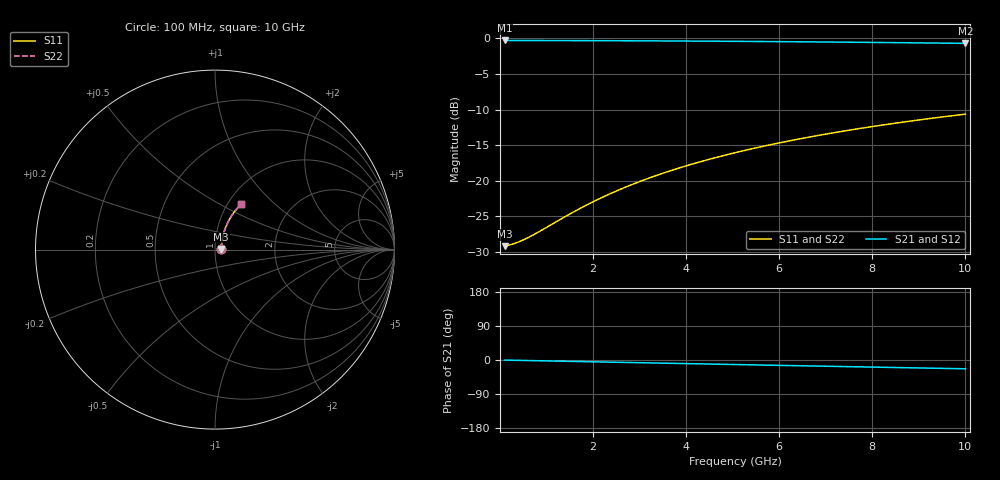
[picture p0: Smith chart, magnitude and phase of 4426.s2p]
# Hz S RI R 50.00
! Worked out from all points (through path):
!   100 points, 100 MHz to 10 GHz, reference 50 ohm
!   highest |S21| = -0.31 dB at 100 MHz (marker M1); lowest = -0.7 dB at 10 GHz (marker M2)
!   group delay of S21, straight-line fit = 6.45 ps
!   lowest |S11| = -29.2 dB at 100 MHz (marker M3), VSWR 1.07, Z = 53.6 + j0.315 ohm
!   |S11| at or under -10 dB: start of sweep to end of sweep
!   |S22| runs from -29.2 to -10.6 dB; largest |S21 - S12| = 0
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1e8  0.0347 0.00294  0.9653 -0.00402  0.9653 -0.00402  0.0347 0.00294
2e8  0.0349 0.00587  0.9651 -0.00803  0.9651 -0.00803  0.0349 0.00587
3e8  0.0351 0.00881  0.9648 -0.012  0.9648 -0.012  0.0351 0.00881
4e8  0.0354 0.0117  0.9646 -0.0161  0.9646 -0.0161  0.0354 0.0117
6e8  0.0358 0.0176  0.9642 -0.0241  0.9642 -0.0241  0.0358 0.0176
8e8  0.0363 0.0234  0.9636 -0.0321  0.9636 -0.0321  0.0363 0.0234
1.5e9  0.0387 0.0438  0.9612 -0.06  0.9612 -0.06  0.0387 0.0438
1.8e9  0.04 0.0525  0.9598 -0.0719  0.9598 -0.0719  0.04 0.0525
2.2e9  0.0421 0.064  0.9576 -0.0877  0.9576 -0.0877  0.0421 0.064
2.6e9  0.0446 0.0754  0.955 -0.1034  0.955 -0.1034  0.0446 0.0754
3e9  0.0474 0.0866  0.952 -0.1191  0.952 -0.1191  0.0474 0.0866
3.4e9  0.0506 0.0978  0.9487 -0.1346  0.9487 -0.1346  0.0506 0.0978
3.8e9  0.0541 0.1088  0.945 -0.1499  0.945 -0.1499  0.0541 0.1088
4.2e9  0.0579 0.1197  0.941 -0.1652  0.941 -0.1652  0.0579 0.1197
4.6e9  0.0621 0.1305  0.9366 -0.1802  0.9366 -0.1802  0.0621 0.1305
5.1e9  0.0679 0.1436  0.9305 -0.1988  0.9305 -0.1988  0.0679 0.1436
5.9e9  0.078 0.164  0.9198 -0.2279  0.9198 -0.2279  0.078 0.164
6.7e9  0.0894 0.1836  0.9078 -0.2562  0.9078 -0.2562  0.0894 0.1836
7.5e9  0.102 0.2023  0.8946 -0.2836  0.8946 -0.2836  0.102 0.2023
8.4e9  0.1173 0.222  0.8784 -0.3133  0.8784 -0.3133  0.1173 0.222
9.2e9  0.1319 0.2385  0.8629 -0.3385  0.8629 -0.3385  0.1319 0.2385
1e10  0.1473 0.2539  0.8465 -0.3627  0.8465 -0.3627  0.1473 0.2539
